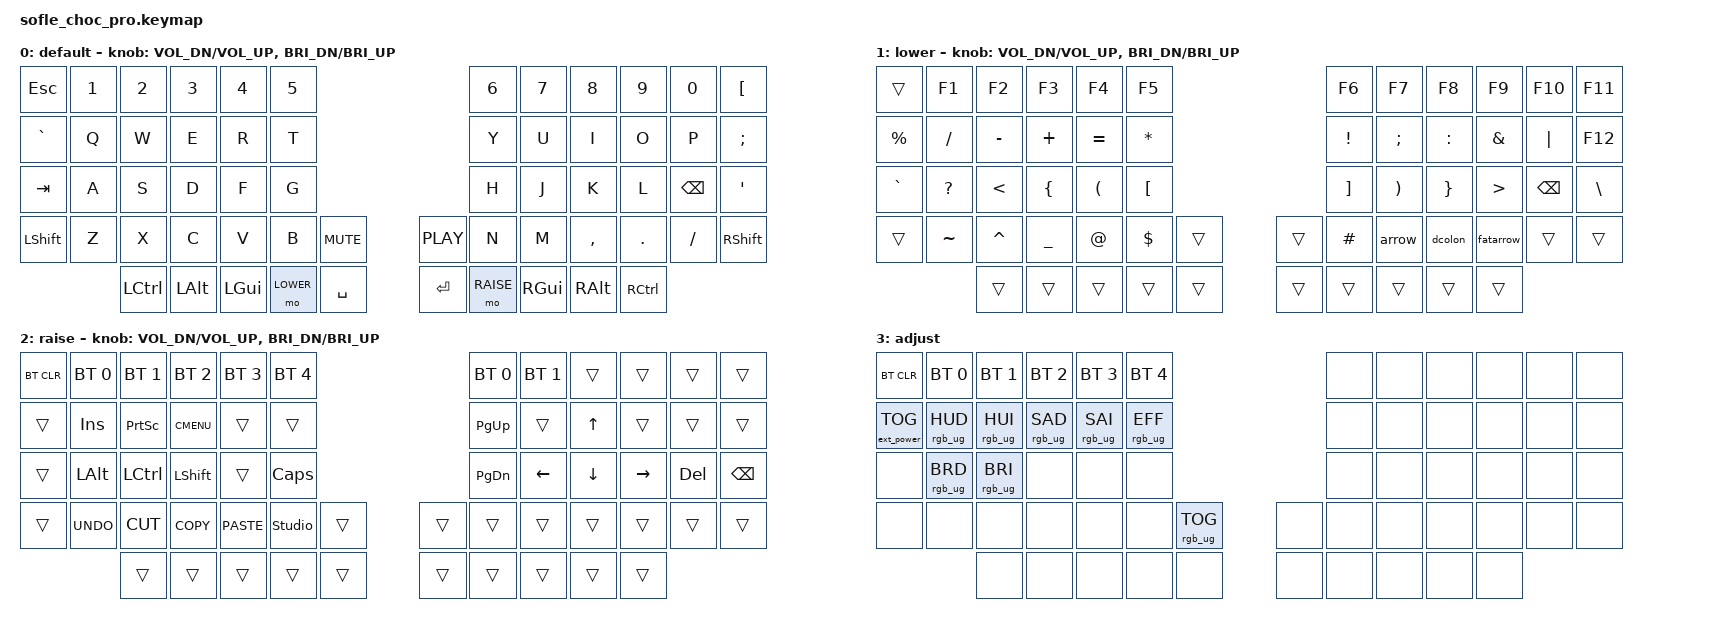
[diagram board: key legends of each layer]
/*
* Copyright (c) 2020 The ZMK Contributors
*
* SPDX-License-Identifier: MIT
*/

#include <behaviors.dtsi>
#include <dt-bindings/zmk/keys.h>
#include <dt-bindings/zmk/bt.h>
#include <dt-bindings/zmk/rgb.h>
#include <dt-bindings/zmk/ext_power.h>

#define BASE 0
#define LOWER 1
#define RAISE 2
#define ADJUST 3

/ {

  // Activate ADJUST layer by pressing raise and lower
  conditional_layers {
    compatible = "zmk,conditional-layers";
    adjust_layer {
      if-layers = <LOWER RAISE>;
      then-layer = <ADJUST>;
    };
  };

  macros {
    arrow: arrow {       // ->
      compatible = "zmk,behavior-macro";
      #binding-cells = <0>;
      bindings = <&kp MINUS &kp GT>;
    };
    dcolon: dcolon {     // ::
      compatible = "zmk,behavior-macro";
      #binding-cells = <0>;
      bindings = <&kp COLON &kp COLON>;
    };
    fatarrow: fatarrow { // =>
      compatible = "zmk,behavior-macro";
      #binding-cells = <0>;
      bindings = <&kp EQUAL &kp GT>;
    };
  };

  keymap {
    compatible = "zmk,keymap";

    default_layer {
      display-name = "default";
      // ------------------------------------------------------------------------------------------------------------
      // |  ESC  |  1  |  2  |  3   |  4   |  5   |                   |  6   |  7    |  8    |  9   |   0   | [ / Х |
      // |   `   |  Q  |  W  |  E   |  R   |  T   |                   |  Y   |  U    |  I    |  O   |   P   |   ;   |
      // |  TAB  |  A  |  S  |  D   |  F   |  G   |                   |  H   |  J    |  K    |  L   | BKSP  |   '   |
      // | SHIFT |  Z  |  X  |  C   |  V   |  B   |  MUTE  |  | PLAY  |  N   |  M    |  ,    |  .   |   /   | SHIFT |
      //               | CTRL| ALT  | GUI  | LOWER|  SPACE |  | ENTER | RAISE| GUI   | ALT   | CTRL |
      bindings = <
        &kp ESC   &kp N1 &kp N2   &kp N3   &kp N4    &kp N5                           &kp N6 &kp N7    &kp N8    &kp N9   &kp N0   &kp LBKT
        &kp GRAVE &kp Q  &kp W    &kp E    &kp R     &kp T                            &kp Y  &kp U     &kp I     &kp O    &kp P    &kp SEMI
        &kp TAB   &kp A  &kp S    &kp D    &kp F     &kp G                            &kp H  &kp J     &kp K     &kp L    &kp BSPC &kp SQT
        &kp LSHFT &kp Z  &kp X    &kp C    &kp V     &kp B   &kp C_MUTE &kp C_PLAY    &kp N  &kp M     &kp COMMA &kp DOT  &kp FSLH &kp RSHFT
        &kp LCTRL &kp LALT &kp LGUI &mo LOWER  &kp SPACE  &kp RET  &mo RAISE  &kp RGUI &kp RALT  &kp RCTRL
      >;

      sensor-bindings = <&inc_dec_kp C_VOL_DN C_VOL_UP &inc_dec_kp C_BRI_DN C_BRI_UP>;
    };

    lower_layer {
      display-name = "lower";
      // ------------------------------------------------------------------------------------------------------------
      // |       |  F1 |  F2 |  F3  |  F4  |  F5  |                   |  F6  |  F7   |  F8   |  F9  |  F10  |  F11  |
      // |   %   |  /  |  -  |  +   |  =   |  *   |                   |  !   |  ;    |  :    |  &   |   |   |  F12  |
      // |   `   |  ?  |  <  |  {   |  (   |  [   |                   |  ]   |  )    |  }    |  >   | BKSP  |   \   |
      // |       |  ~  |  ^  |  _   |  @   |  $   |        |  |       |  #   |  ->   |  ::   |  =>  |       |       |
      //               |     |      |      |      |        |  |       |      |       |       |      |
      bindings = <
        &trans    &kp F1    &kp F2    &kp F3    &kp F4    &kp F5                       &kp F6    &kp F7    &kp F8    &kp F9    &kp F10   &kp F11
        &kp PRCNT &kp FSLH  &kp MINUS &kp PLUS  &kp EQUAL &kp ASTRK                    &kp EXCL  &kp SEMI  &kp COLON &kp AMPS  &kp PIPE  &kp F12
        &kp GRAVE &kp QMARK &kp LT    &kp LBRC  &kp LPAR  &kp LBKT                     &kp RBKT  &kp RPAR  &kp RBRC  &kp GT    &kp BSPC  &kp BSLH
        &trans    &kp TILDE &kp CARET &kp UNDER &kp AT    &kp DLLR  &trans   &trans    &kp HASH  &arrow    &dcolon   &fatarrow &trans    &trans
        &trans    &trans    &trans    &trans    &trans              &trans   &trans    &trans    &trans    &trans
      >;

      sensor-bindings = <&inc_dec_kp C_VOL_DN C_VOL_UP &inc_dec_kp C_BRI_DN C_BRI_UP>;
    };

    raise_layer {
      display-name = "raise";
      // ------------------------------------------------------------------------------------------------------------
      // | BTCLR | BT1  | BT2  |  BT3  |  BT4  |  BT5 |                | BT1  | BT2  |       |      |       |       |
      // |       | INS  | PSCR | GUI   |       |      |                | PGUP |      |   ^   |      |       |       |
      // |       | ALT  | CTRL | SHIFT |       | CAPS |                | PGDN |   <- |   v   |  ->  |  DEL  | BKSPC |
      // |       | UNDO | CUT  | COPY  | PASTE | STUD |      |  |      |      |      |       |      |       |       |
      //                |      |       |       |      |      |  |      |      |      |       |      |
      bindings = <
        &bt BT_CLR &bt BT_SEL 0 &bt BT_SEL 1 &bt BT_SEL 2 &bt BT_SEL 3 &bt BT_SEL 4                      &bt BT_SEL 0 &bt BT_SEL 1 &trans &trans &trans &trans
        &trans     &kp INS      &kp PSCRN    &kp K_CMENU  &trans       &trans                            &kp PG_UP &trans    &kp UP    &trans     &trans   &trans
        &trans     &kp LALT     &kp LCTRL    &kp LSHFT    &trans       &kp CLCK                          &kp PG_DN &kp LEFT  &kp DOWN  &kp RIGHT  &kp DEL  &kp BSPC
        &trans     &kp K_UNDO   &kp K_CUT    &kp K_COPY   &kp K_PASTE  &studio_unlock  &trans  &trans    &trans    &trans    &trans    &trans     &trans   &trans
                                &trans       &trans       &trans       &trans          &trans  &trans    &trans    &trans    &trans    &trans
      >;

      sensor-bindings = <&inc_dec_kp C_VOL_DN C_VOL_UP &inc_dec_kp C_BRI_DN C_BRI_UP>;
    };

    adjust_layer {
      // ----------------------------------------------------------------------------------------------------------------------------
      // | BTCLR  |  BT1    |  BT2    |   BT3   |   BT4   |   BT5   |                  |      |      |       |      |       |       |
      // | EXTPWR | RGB_HUD | RGB_HUI | RGB_SAD | RGB_SAI | RGB_EFF |                  |      |      |       |      |       |       |
      // |        | RGB_BRD | RGB_BRI |         |         |         |                  |      |      |       |      |       |       |
      // |        |         |         |         |         |         | RGB_TOG | |      |      |      |       |      |       |       |
      //                    |         |         |         |         |         | |      |      |      |       |      |
      display-name = "adjust";
      bindings = <
        &bt BT_CLR        &bt BT_SEL 0    &bt BT_SEL 1    &bt BT_SEL 2    &bt BT_SEL 3    &bt BT_SEL 4                            &none &none &none &none &none &none
        &ext_power EP_TOG &rgb_ug RGB_HUD &rgb_ug RGB_HUI &rgb_ug RGB_SAD &rgb_ug RGB_SAI &rgb_ug RGB_EFF                         &none &none &none &none &none &none
        &none             &rgb_ug RGB_BRD &rgb_ug RGB_BRI &none           &none           &none                                   &none &none &none &none &none &none
        &none             &none           &none           &none           &none           &none            &rgb_ug RGB_TOG &none  &none &none &none &none &none &none
        &none           &none           &none           &none            &none           &none  &none &none &none &none
      >;
    };
  };
};
